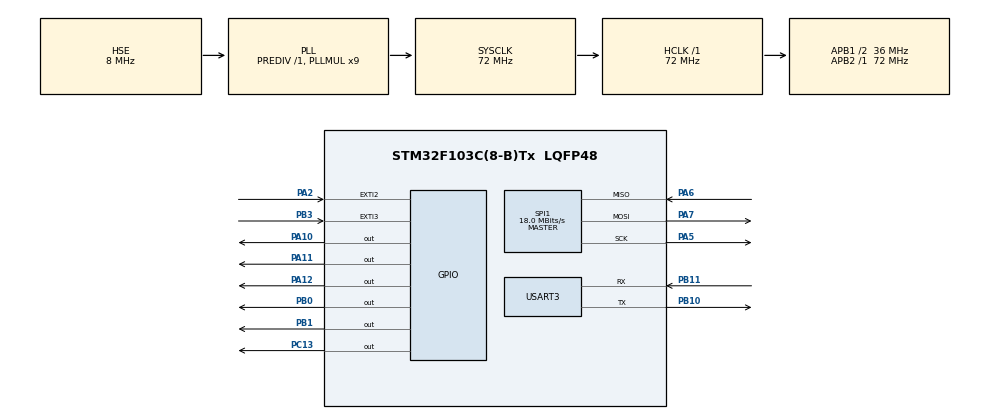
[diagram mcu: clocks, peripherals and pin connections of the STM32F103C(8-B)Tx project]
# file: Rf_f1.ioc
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Mcu.Family=STM32F1
Mcu.Name=STM32F103C(8-B)Tx
Mcu.Package=LQFP48
NVIC.EXTI2_IRQn=true\:0\:0\:false\:false\:true\:true\:true\:true
NVIC.EXTI3_IRQn=true\:0\:0\:false\:false\:true\:true\:true\:true
NVIC.PriorityGroup=NVIC_PRIORITYGROUP_4
PA10.Signal=GPIO_Output
PA11.Signal=GPIO_Output
PA12.Signal=GPIO_Output
PA13.Mode=Serial_Wire
PA13.Signal=SYS_JTMS-SWDIO
PA14.Mode=Serial_Wire
PA14.Signal=SYS_JTCK-SWCLK
PA2.GPIO_ModeDefaultEXTI=GPIO_MODE_IT_FALLING
PA2.Signal=GPXTI2
PA5.Mode=Full_Duplex_Master
PA5.Signal=SPI1_SCK
PA6.Mode=Full_Duplex_Master
PA6.Signal=SPI1_MISO
PA7.Mode=Full_Duplex_Master
PA7.Signal=SPI1_MOSI
PB0.Signal=GPIO_Output
PB1.Signal=GPIO_Output
PB10.Mode=Asynchronous
PB10.Signal=USART3_TX
PB11.Mode=Asynchronous
PB11.Signal=USART3_RX
PB3.GPIO_ModeDefaultEXTI=GPIO_MODE_IT_FALLING
PB3.Signal=GPXTI3
PC13-TAMPER-RTC.Signal=GPIO_Output
PD0-OSC_IN.Mode=HSE-External-Oscillator
PD0-OSC_IN.Signal=RCC_OSC_IN
PD1-OSC_OUT.Mode=HSE-External-Oscillator
PD1-OSC_OUT.Signal=RCC_OSC_OUT
ProjectManager.HeapSize=0x200
ProjectManager.StackSize=0x400
ProjectManager.TargetToolchain=STM32CubeIDE
RCC.AHBFreq_Value=72000000
RCC.APB1CLKDivider=RCC_HCLK_DIV2
RCC.APB1Freq_Value=36000000
RCC.APB1TimFreq_Value=72000000
RCC.APB2Freq_Value=72000000
RCC.APB2TimFreq_Value=72000000
RCC.HCLKFreq_Value=72000000
RCC.PLLMUL=RCC_PLL_MUL9
RCC.PLLSourceVirtual=RCC_PLLSOURCE_HSE
RCC.SYSCLKFreq_VALUE=72000000
RCC.SYSCLKSource=RCC_SYSCLKSOURCE_PLLCLK
RCC.USBFreq_Value=72000000
SPI1.BaudRatePrescaler=SPI_BAUDRATEPRESCALER_4
SPI1.CalculateBaudRate=18.0 MBits/s
SPI1.Direction=SPI_DIRECTION_2LINES
SPI1.Mode=SPI_MODE_MASTER
SPI1.VirtualType=VM_MASTER
USART3.VirtualMode=VM_ASYNC
board=custom

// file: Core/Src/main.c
/* USER CODE BEGIN Header */
/**
  ******************************************************************************
  * @file           : main.c
  * @brief          : Main program body
  ******************************************************************************
  * @attention
  *
  * Copyright (c) 2024 STMicroelectronics.
  * All rights reserved.
  *
  * This software is licensed under terms that can be found in the LICENSE file
  * in the root directory of this software component.
  * If no LICENSE file comes with this software, it is provided AS-IS.
  *
  ******************************************************************************
  */
/* USER CODE END Header */
#include "main.h"
#include "spi.h"
#include "usart.h"
#include "gpio.h"
#include "string.h"
#include "stdio.h"
#include "stdlib.h"
/* USER CODE BEGIN Includes */
#include "nrf24l01p.h"
#include "config_data.h"
/* USER CODE END Includes */

/* USER CODE BEGIN PD */

//#define TRANSMITTER
#define RECEIVER		//nhận spi1

/* USER CODE END PD */

void SystemClock_Config(void);
/* USER CODE BEGIN PFP */
void HAL_GPIO_EXTI_Callback(uint16_t GPIO_Pin);
void nrf24l01p_rx_receive(uint8_t* rx_payload);
/* USER CODE END PFP */

/* USER CODE BEGIN 0 */
uint8_t rx_data[NRF24L01P_PAYLOAD_LENGTH] = {0};
data_t data;
char Txdata_uart[300];

float Roll = 0.0f, Pitch = 0.0f, angle = 0.0f, Angle_pendulum = 0.0f,
	  SP_angle = 0.0f, Acc = 0.0f, Gyr =0.0f;
/* USER CODE END 0 */

int main(void)
{

  /* MCU Configuration--------------------------------------------------------*/

  /* Reset of all peripherals, Initializes the Flash interface and the Systick. */
  HAL_Init();

  /* Configure the system clock */
  SystemClock_Config();

  /* Initialize all configured peripherals */
  MX_GPIO_Init();
  MX_SPI1_Init();
  MX_USART3_UART_Init();
  /* USER CODE BEGIN 2 */
	#ifdef RECEIVER
		nrf24l01p_rx_init(2500, _1Mbps);
	#endif

	#ifdef TRANSMITTER
		nrf24l01p_tx_init(2500, _1Mbps);
    #endif
  /* USER CODE END 2 */

  /* Infinite loop */
  /* USER CODE BEGIN WHILE */
  while (1)
  {

	  #ifdef RECEIVER
	  HAL_GPIO_TogglePin(GPIOD, GPIO_PIN_12);
	  _unpack_data(rx_data,&data);
	  SP_angle			= data.SP_angle;
	  Acc 				= data.acc_x_filter;
	  Angle_pendulum 	= data.angle_pendulum;
	  Roll 				= data.eul_roll_deg;
	  Pitch 			= data.eul_pitch_deg;
	  Gyr 				= data.gyr_y_deg;
	  #endif
	  HAL_Delay(50);
	  sprintf(Txdata_uart,"*%3.2fx%3.2fy%3.2fz%3.2fv%3.2fb%3.2fn",
			  Roll, Gyr, Angle_pendulum, Acc, Pitch, SP_angle);
	  HAL_UART_Transmit(&huart3, (uint8_t *)Txdata_uart, strlen(Txdata_uart), HAL_MAX_DELAY);
    /* USER CODE END WHILE */

  }
}

void SystemClock_Config(void)
{
  RCC_OscInitTypeDef RCC_OscInitStruct = {0};
  RCC_ClkInitTypeDef RCC_ClkInitStruct = {0};

  /** Initializes the RCC Oscillators according to the specified parameters
  * in the RCC_OscInitTypeDef structure.
  */
  RCC_OscInitStruct.OscillatorType = RCC_OSCILLATORTYPE_HSE;
  RCC_OscInitStruct.HSEState = RCC_HSE_ON;
  RCC_OscInitStruct.HSEPredivValue = RCC_HSE_PREDIV_DIV1;
  RCC_OscInitStruct.HSIState = RCC_HSI_ON;
  RCC_OscInitStruct.PLL.PLLState = RCC_PLL_ON;
  RCC_OscInitStruct.PLL.PLLSource = RCC_PLLSOURCE_HSE;
  RCC_OscInitStruct.PLL.PLLMUL = RCC_PLL_MUL9;
  if (HAL_RCC_OscConfig(&RCC_OscInitStruct) != HAL_OK)
  {
    Error_Handler();
  }

  /** Initializes the CPU, AHB and APB buses clocks
  */
  RCC_ClkInitStruct.ClockType = RCC_CLOCKTYPE_HCLK|RCC_CLOCKTYPE_SYSCLK
                              |RCC_CLOCKTYPE_PCLK1|RCC_CLOCKTYPE_PCLK2;
  RCC_ClkInitStruct.SYSCLKSource = RCC_SYSCLKSOURCE_PLLCLK;
  RCC_ClkInitStruct.AHBCLKDivider = RCC_SYSCLK_DIV1;
  RCC_ClkInitStruct.APB1CLKDivider = RCC_HCLK_DIV2;
  RCC_ClkInitStruct.APB2CLKDivider = RCC_HCLK_DIV1;

  if (HAL_RCC_ClockConfig(&RCC_ClkInitStruct, FLASH_LATENCY_2) != HAL_OK)
  {
    Error_Handler();
  }
}

/* USER CODE BEGIN 4 */
void HAL_GPIO_EXTI_Callback(uint16_t GPIO_Pin)
{
	if(GPIO_Pin == NRF24L01P_IRQ_PIN_NUMBER)
	{
		#ifdef RECEIVER
			nrf24l01p_rx_receive(rx_data);   //&rx_data
			HAL_GPIO_TogglePin(GPIOD, GPIO_PIN_13);
		#endif
	}
}

/* USER CODE END 4 */

void Error_Handler(void)
{
  __disable_irq();
  while (1)
  {
  }
}
